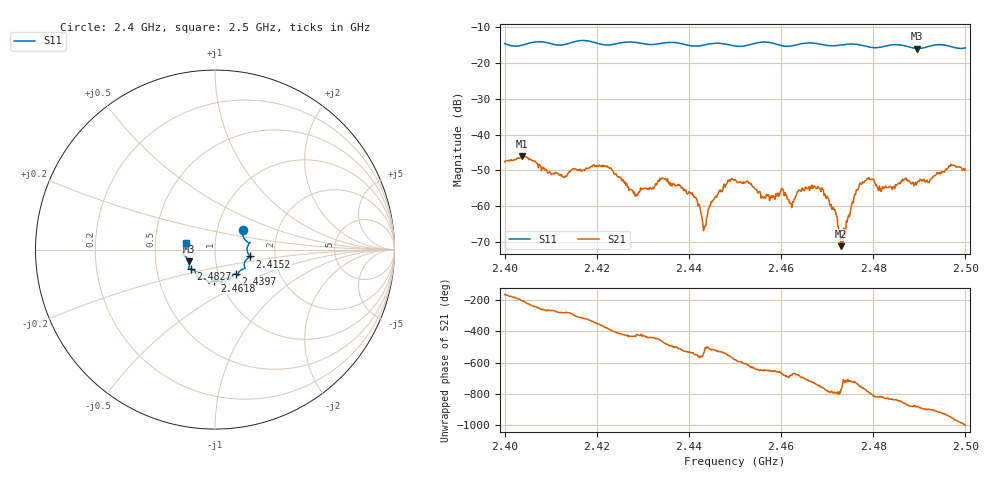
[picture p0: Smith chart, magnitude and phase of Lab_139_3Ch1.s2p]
# Hz S RI R 50
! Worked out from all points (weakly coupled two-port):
!   601 points, 2.4 GHz to 2.5 GHz, reference 50 ohm
!   highest |S21| = -46.00 dB at 2.4038 GHz (marker M1); lowest = -71.2 dB at 2.473 GHz (marker M2)
!   lowest |S11| = -15.9 dB at 2.4895 GHz (marker M3), VSWR 1.38, Z = 37 - j5 ohm
!   |S11| at or under -10 dB: start of sweep to end of sweep
!   S12 and S22 are empty: the file has one direction only
!   S11 on the Smith chart (normalised r, x): 2.4 GHz: 1.33, +0.29; 2.4152 GHz: 1.48, -0.12; 2.4397 GHz: 1.21, -0.34; 2.4618 GHz: 0.94, -0.33; 2.4827 GHz: 0.75, -0.17; 2.5 GHz: 0.72, +0.06
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2.4e9  0.1543 0.1071  -0.00404 -0.00109  0 0  0 0
2.403833e9  0.1722 0.0493  -0.00454 0.00211  0 0  0 0
2.412667e9  0.18 -0.00946  0.000461 0.00254  0 0  0 0
2.415167e9  0.196 -0.0381  0.00154 0.00291  0 0  0 0
2.416667e9  0.2031 -0.0431  0.00204 0.0023  0 0  0 0
2.4225e9  0.1652 -0.071  0.00317 -0.00149  0 0  0 0
2.4285e9  0.1643 -0.1056  0.00043 -0.00131  0 0  0 0
2.433333e9  0.1294 -0.134  5.06e-05 -0.00227  0 0  0 0
2.439667e9  0.1166 -0.1359  -0.00147 -0.00019  0 0  0 0
2.441833e9  0.0962 -0.1446  -0.00115 0.000236  0 0  0 0
2.443333e9  0.0869 -0.1575  -0.000502 -4.81e-05  0 0  0 0
2.445333e9  0.0837 -0.1694  -0.00114 -0.000489  0 0  0 0
2.45e9  0.0652 -0.1615  -0.00177 0.00152  0 0  0 0
2.461833e9  -0.00286 -0.1729  0.000929 0.000604  0 0  0 0
2.466667e9  -0.0346 -0.1884  0.00197 -0.000176  0 0  0 0
2.470333e9  -0.0511 -0.1688  0.00057 -0.00113  0 0  0 0
2.473e9  -0.0811 -0.1601  0.000173 -0.000214  0 0  0 0
2.477333e9  -0.0976 -0.1507  0.00175 -0.00103  0 0  0 0
2.482667e9  -0.1352 -0.1087  -0.000569 -0.00183  0 0  0 0
2.483333e9  -0.1404 -0.1082  -0.000681 -0.00169  0 0  0 0
2.4895e9  -0.1461 -0.0659  -0.00204 -0.000659  0 0  0 0
2.5e9  -0.159 0.0388  0.000661 0.0032  0 0  0 0
